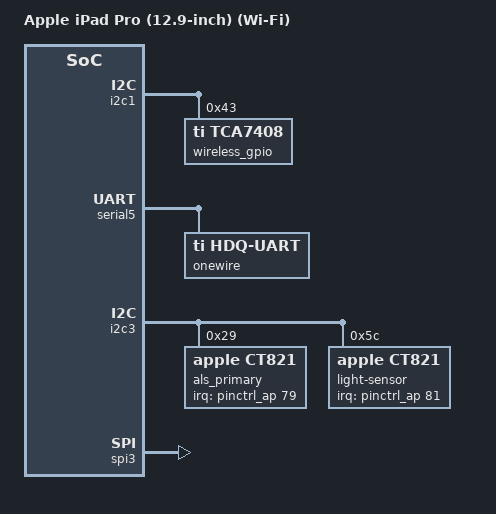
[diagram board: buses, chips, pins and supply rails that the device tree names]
// SPDX-License-Identifier: GPL-2.0+ OR MIT
/*
 * Apple iPad Pro (12.9-inch) (Wi-Fi), J98a, iPad6,7 (A1584)
 * Copyright (c) 2022, Konrad Dybcio <konradybcio@kernel.org>
 */

/dts-v1/;

#include "s8001-pro.dtsi"
#include "s8001-j98a-j99a.dtsi"
#include "s8001-pcie.dtsi"

/ {
	compatible = "apple,j98a", "apple,s8001", "apple,arm-platform";
	model = "Apple iPad Pro (12.9-inch) (Wi-Fi)";

	spi3_nclk: clock-spi3-nclk {
		compatible = "fixed-clock";
		#clock-cells = <0>;
		/* Live arm-io clock-frequencies[0x30], for SPI3 clock ID 0x130. */
		clock-frequency = <61538461>;
		clock-output-names = "spi3-nclk";
	};

	uart3_pclk: clock-uart3-pclk {
		compatible = "fixed-clock";
		#clock-cells = <0>;
		/* Boot-populated arm-io clock ID 0x116. */
		clock-frequency = <60000000>;
		clock-output-names = "uart3-pclk";
	};

	aliases {
		als0 = &als_primary;
		serial3 = &serial3;
		serial5 = &serial5;
		touchscreen0 = &touchscreen0;
		wifi0 = &wifi0;
	};
};

&i2c1 {
	status = "okay";

	wireless_gpio: gpio@43 {
		compatible = "ti,tca7408";
		reg = <0x43>;
		gpio-controller;
		#gpio-cells = <2>;
		gpio-line-names = "bluetooth-enable", "wlan-enable";
	};
};

&pinctrl_ap {
	touch_display_sync_active: touch-display-sync-active {
		pinmux = <APPLE_PINMUX(84, 2)>;
	};

	touch_display_sync_inactive: touch-display-sync-inactive {
		pinmux = <APPLE_PINMUX(84, 0)>;
	};

	bt_uart_pins: bt-uart-pins {
		/* Only TX and RTS have pin functions in the stock board tree. */
		pinmux = <APPLE_PINMUX(90, 1)>, <APPLE_PINMUX(92, 1)>;
	};

	wlan_clkreq_pins: wlan-clkreq-pins {
		pinmux = <APPLE_PINMUX(106, 1)>;
	};

	battery_swi_pins: battery-swi-pins {
		pinmux = <APPLE_PINMUX(130, 1)>;
	};
};

&serial3 {
	clocks = <&uart3_pclk>, <&clkref>;
	pinctrl-names = "default";
	pinctrl-0 = <&bt_uart_pins>;
	uart-has-rtscts;
	/* Enable only with a qualified Bluetooth transport/firmware sequence. */
};

&pcie0 {
	/* The first test exposes only Wi-Fi; bus 1 therefore uses DART2. */
	iommu-map = <0x100 &pcie0_dart2 0 0x0 0x80000000 0x0 0x3ffff000 1>;
	iommu-map-mask = <0xff00>;
	power-domains = <&ps_pcie>, <&ps_pcie_aux>, <&ps_pcie_ref>, <&ps_pcie_link2>;
	power-domain-names = "core", "aux", "ref", "link2";
	pinctrl-names = "default";
	pinctrl-0 = <&wlan_clkreq_pins>;
	apple,lane-cfg = <1>;

	pcie_wifi: pci@2,0 {
		device_type = "pci";
		reg = <0x1000 0x0 0x0 0x0 0x0>;
		bus-range = <1 1>;
		reset-gpios = <&pinctrl_ap 100 GPIO_ACTIVE_LOW>;
		num-lanes = <1>;
		max-link-speed = <1>;
		apple,msi-vector-range = <16 4>;
		apple,manual-availability-iommu = <&pcie0_dart2 0>;
		aspm-no-l0s;
		aspm-no-l1;
		#address-cells = <3>;
		#size-cells = <2>;
		ranges;
		status = "disabled";

		wifi0: wifi@0,0 {
			compatible = "pci14e4,43a3";
			reg = <0x10000 0x0 0x0 0x0 0x0>;
			/* m1n1 supplies the factory MAC and calibration at boot. */
		};
	};
};

&serial5 {
	pinctrl-names = "default";
	pinctrl-0 = <&battery_swi_pins>;
	status = "okay";

	onewire {
		compatible = "ti,hdq-uart";

		fuel-gauge {
			compatible = "ti,bq27540-hdq";
		};
	};
};

&{/soc} {
	/* The three populated PCIe ports each have their own DART. */
	pcie0_dart0: iommu@601008000 {
		compatible = "apple,s8001-dart", "apple,s5l8960x-dart";
		reg = <0x6 0x01008000 0x0 0x4000>;
		#iommu-cells = <5>;
		interrupts = <AIC_IRQ 271 IRQ_TYPE_LEVEL_HIGH>;
		power-domains = <&ps_pcie_link0>;
		apple,error-reflector = /bits/ 64 <0x20fffc000>;
		apple,fetch-config = <0x000e0303>;
		apple,diag-config = <0x00000100>;
		status = "disabled";
	};

	pcie0_dart2: iommu@603008000 {
		compatible = "apple,s8001-dart", "apple,s5l8960x-dart";
		reg = <0x6 0x03008000 0x0 0x4000>;
		#iommu-cells = <5>;
		interrupts = <AIC_IRQ 277 IRQ_TYPE_LEVEL_HIGH>;
		power-domains = <&ps_pcie_link2>;
		apple,error-reflector = /bits/ 64 <0x20fffc000>;
		apple,fetch-config = <0x000e0303>;
		apple,diag-config = <0x00000100>;
		apple,manual-availability;
		status = "disabled";
	};

	pcie0_dart4: iommu@605008000 {
		compatible = "apple,s8001-dart", "apple,s5l8960x-dart";
		reg = <0x6 0x05008000 0x0 0x4000>;
		#iommu-cells = <5>;
		interrupts = <AIC_IRQ 283 IRQ_TYPE_LEVEL_HIGH>;
		power-domains = <&ps_pcie_link4>;
		apple,error-reflector = /bits/ 64 <0x20fffc000>;
		apple,fetch-config = <0x000e0303>;
		apple,diag-config = <0x00000100>;
		status = "disabled";
	};
};

&i2c3 {
	status = "okay";

	/* Both sensors share one factory LSCI table, provided at als0. */
	als_primary: light-sensor@29 {
		compatible = "apple,ct821", "amstaos,tsl2581";
		reg = <0x29>;
		interrupts-extended = <&pinctrl_ap 79 IRQ_TYPE_LEVEL_LOW>;
		apple,calibration-orientation = <6>;
	};

	light-sensor@5c {
		compatible = "apple,ct821", "amstaos,tsl2581";
		reg = <0x5c>;
		interrupts-extended = <&pinctrl_ap 81 IRQ_TYPE_LEVEL_LOW>;
		apple,calibration-orientation = <5>;
		apple,calibration-source = <&als_primary>;
	};
};


&spi3 {
	clocks = <&spi3_nclk>;
	cs-gpios = <&pinctrl_ap 169 GPIO_ACTIVE_LOW>;
	status = "okay";

	/* Opt-in bounded diagnostics only; no Linux input device yet. */
	touchscreen0: touchscreen@0 {
		compatible = "apple,j98a-touchscreen";
		reg = <0>;
		/* Conservative initial test rate, not a qualified board maximum. */
		spi-max-frequency = <500000>;
		/* Stock CS Delay 10000 is nanoseconds on each CS edge. */
		spi-cs-setup-delay-ns = <10000>;
		spi-cs-hold-delay-ns = <10000>;
		apple,half-clock-delay;
		spi-cpha;
		spi-cpol;
		reset-gpios = <&pinctrl_ap 210 GPIO_ACTIVE_LOW>;
		/* Stock GPIO mode 0xA maps to falling-edge interrupt on AP208. */
		interrupt-parent = <&pinctrl_ap>;
		interrupts = <208 IRQ_TYPE_EDGE_FALLING>;
		attn-gpios = <&pinctrl_ap 208 GPIO_ACTIVE_LOW>;
		power-ana-gpios = <&pinctrl_ap 137 GPIO_ACTIVE_HIGH>;
		power-ldo-gpios = <&pinctrl_ap 207 GPIO_ACTIVE_HIGH>;
		clocks = <&touch_clk>;
		pinctrl-names = "display-sync-active", "display-sync-inactive";
		pinctrl-0 = <&touch_display_sync_active>;
		pinctrl-1 = <&touch_display_sync_inactive>;
		status = "disabled";
	};
};
